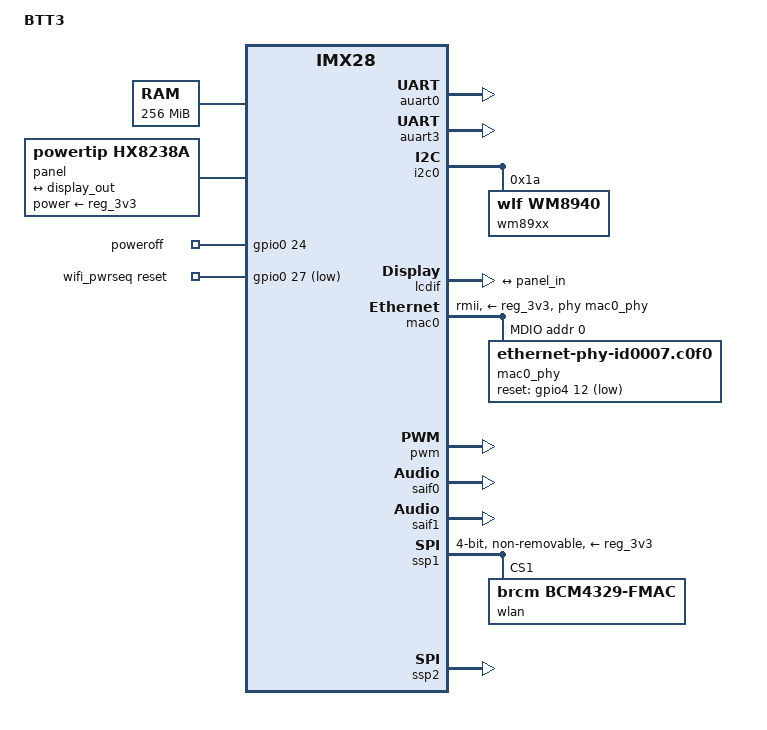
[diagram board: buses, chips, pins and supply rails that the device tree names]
// SPDX-License-Identifier: GPL-2.0-or-later OR MIT
/*
 * Copyright 2024
 * Lukasz Majewski, DENX Software Engineering, lukma@denx.de
 */
/dts-v1/;
#include "imx28-lwe.dtsi"

/ {
	model = "BTT3";

	compatible = "lwn,imx28-btt3", "fsl,imx28";

	chosen {
	       bootargs = "root=/dev/mmcblk0p2 rootfstype=ext4 ro rootwait console=ttyAMA0,115200 panic=1 quiet";
	};

	memory@40000000 {
		reg = <0x40000000 0x10000000>;
		device_type = "memory";
	};

	panel {
		compatible = "powertip,hx8238a", "panel-dpi";
		power-supply = <&reg_3v3>;
		width-mm = <70>;
		height-mm = <52>;

		panel-timing {
			clock-frequency = <6500000>;
			hactive = <320>;
			vactive = <240>;
			hfront-porch = <20>;
			hback-porch = <38>;
			hsync-len = <30>;
			vfront-porch = <4>;
			vback-porch = <14>;
			vsync-len = <4>;
			hsync-active = <0>;
			vsync-active = <0>;
			de-active = <0>;
			pixelclk-active = <1>;
		};

		port {
			panel_in: endpoint {
				remote-endpoint = <&display_out>;
			};
		};
	};

	poweroff {
		compatible = "gpio-poweroff";
		gpios = <&gpio0 24 GPIO_ACTIVE_HIGH>;
	};

	sound {
		compatible = "simple-audio-card";
		simple-audio-card,name = "BTTC Audio";
		simple-audio-card,widgets = "Speaker", "BTTC Speaker";
		simple-audio-card,routing = "BTTC Speaker", "SPKOUTN", "BTTC Speaker", "SPKOUTP";

		simple-audio-card,dai-link@0 {
			format = "left_j";
			bitclock-master = <&dai0_master>;
			frame-master = <&dai0_master>;
			mclk-fs = <256>;

			dai0_master: cpu {
				sound-dai = <&saif0>;
			};

			codec {
				sound-dai = <&wm89xx>;
				clocks = <&saif0>;
			};
		};
	};

	wifi_pwrseq: sdio-pwrseq {
		compatible = "mmc-pwrseq-simple";
		pinctrl-names = "default";
		pinctrl-0 = <&wifi_en_pin_bttc>;
		reset-gpios = <&gpio0 27 GPIO_ACTIVE_LOW>;
		/* W1-163 needs 60us for WL_EN to be low and */
		/* 150ms after high before downloading FW is possible */
		post-power-on-delay-ms = <200>;
		power-off-delay-us = <100>;
	};
};

&auart0 {
	pinctrl-names = "default";
	pinctrl-0 = <&auart0_2pins_a>;
	status = "okay";
};

&auart3 {
	pinctrl-names = "default";
	pinctrl-0 = <&auart3_pins_a>;
	uart-has-rtscts;
	status = "okay";
};

&i2c0 {
	wm89xx: audio-codec@1a {
		compatible = "wlf,wm8940";
		reg = <0x1a>;
		#sound-dai-cells = <0>;
	};
};

&lcdif {
	pinctrl-names = "default";
	pinctrl-0 = <&lcdif_24bit_pins_a>, <&lcdif_sync_pins_bttc>,
		    <&lcdif_reset_pins_bttc>;
	status = "okay";

	port {
		display_out: endpoint {
			remote-endpoint = <&panel_in>;
		};
	};
};

&mac0 {
	clocks = <&clks 57>, <&clks 57>, <&clks 64>;
	clock-names = "ipg", "ahb", "enet_out";
	phy-handle = <&mac0_phy>;
	phy-mode = "rmii";
	phy-supply = <&reg_3v3>;
	/*
	 * This MAC address is adjusted during production.
	 * Value specified below is used as a fallback during recovery.
	 */
	local-mac-address = [ 00 11 B8 00 BF 8A ];
	status = "okay";

	mdio {
		#address-cells = <1>;
		#size-cells = <0>;

		mac0_phy: ethernet-phy@0 {
			/* LAN8720Ai - PHY ID */
			compatible = "ethernet-phy-id0007.c0f0","ethernet-phy-ieee802.3-c22";
			reg = <0>;
			smsc,disable-energy-detect;
			max-speed = <100>;
			reset-gpios = <&gpio4 12 GPIO_ACTIVE_LOW>;
			reset-assert-us = <1000>;
			reset-deassert-us = <1000>;
		};
	};
};

&pinctrl {
	pinctrl-names = "default";
	pinctrl-0 = <&hog_pins_a>, <&hog_pins_rev>;

	hog_pins_a: hog@0 {
		reg = <0>;
		fsl,pinmux-ids = <
			MX28_PAD_GPMI_RDY2__GPIO_0_22
			MX28_PAD_GPMI_RDY3__GPIO_0_23
			MX28_PAD_GPMI_RDN__GPIO_0_24
			MX28_PAD_LCD_VSYNC__GPIO_1_28
			MX28_PAD_SSP2_SS1__GPIO_2_20
			MX28_PAD_SSP2_SS2__GPIO_2_21
			MX28_PAD_AUART2_CTS__GPIO_3_10
			MX28_PAD_AUART2_RTS__GPIO_3_11
			MX28_PAD_GPMI_WRN__GPIO_0_25
			MX28_PAD_ENET0_RXD2__GPIO_4_9
			MX28_PAD_ENET0_TXD2__GPIO_4_11
		>;
		fsl,drive-strength = <MXS_DRIVE_4mA>;
		fsl,voltage = <MXS_VOLTAGE_HIGH>;
		fsl,pull-up = <MXS_PULL_DISABLE>;
	};

	hog_pins_rev: hog@1 {
		reg = <1>;
		fsl,pinmux-ids = <
			MX28_PAD_ENET0_RXD3__GPIO_4_10
			MX28_PAD_ENET0_TX_CLK__GPIO_4_5
			MX28_PAD_ENET0_COL__GPIO_4_14
			MX28_PAD_ENET0_CRS__GPIO_4_15
		>;
		fsl,drive-strength = <MXS_DRIVE_4mA>;
		fsl,voltage = <MXS_VOLTAGE_HIGH>;
		fsl,pull-up = <MXS_PULL_DISABLE>;
	};

	keypad_pins_bttc: keypad-bttc@0 {
		reg = <0>;
		fsl,pinmux-ids = <
			MX28_PAD_GPMI_D00__GPIO_0_0
			MX28_PAD_AUART0_CTS__GPIO_3_2
			MX28_PAD_AUART0_RTS__GPIO_3_3
			MX28_PAD_GPMI_D03__GPIO_0_3
			MX28_PAD_GPMI_D04__GPIO_0_4
			MX28_PAD_GPMI_D05__GPIO_0_5
			MX28_PAD_GPMI_D06__GPIO_0_6
			MX28_PAD_GPMI_D07__GPIO_0_7
			MX28_PAD_GPMI_CE1N__GPIO_0_17
			MX28_PAD_GPMI_CE2N__GPIO_0_18
			MX28_PAD_GPMI_CE3N__GPIO_0_19
			MX28_PAD_GPMI_RDY0__GPIO_0_20
		>;
		fsl,drive-strength = <MXS_DRIVE_4mA>;
		fsl,voltage = <MXS_VOLTAGE_HIGH>;
		fsl,pull-up = <MXS_PULL_DISABLE>;
	};

	lcdif_sync_pins_bttc: lcdif-bttc@0 {
		reg = <0>;
		fsl,pinmux-ids = <
			MX28_PAD_LCD_DOTCLK__LCD_DOTCLK
			MX28_PAD_LCD_ENABLE__LCD_ENABLE
			MX28_PAD_LCD_HSYNC__LCD_HSYNC
			MX28_PAD_LCD_RD_E__LCD_VSYNC
		>;
		fsl,drive-strength = <MXS_DRIVE_4mA>;
		fsl,voltage = <MXS_VOLTAGE_HIGH>;
		fsl,pull-up = <MXS_PULL_DISABLE>;
	};

	lcdif_reset_pins_bttc: lcdif-bttc@1 {
		reg = <1>;
		fsl,pinmux-ids = <
			MX28_PAD_LCD_RESET__GPIO_3_30
		>;
		fsl,drive-strength = <MXS_DRIVE_4mA>;
		fsl,voltage = <MXS_VOLTAGE_HIGH>;
		fsl,pull-up = <MXS_PULL_ENABLE>;
	};

	ssp1_sdio_pins_a: ssp1-sdio@0 {
		reg = <0>;
		fsl,pinmux-ids = <
			MX28_PAD_SSP1_DATA0__SSP1_D0
			MX28_PAD_GPMI_D01__SSP1_D1
			MX28_PAD_GPMI_D02__SSP1_D2
			MX28_PAD_SSP1_DATA3__SSP1_D3
			MX28_PAD_SSP1_CMD__SSP1_CMD
			MX28_PAD_SSP1_SCK__SSP1_SCK
		>;
		fsl,drive-strength = <MXS_DRIVE_8mA>;
		fsl,voltage = <MXS_VOLTAGE_HIGH>;
		fsl,pull-up = <MXS_PULL_ENABLE>;
	};

	wifi_en_pin_bttc: wifi-en-pin@0 {
		reg = <0>;
		fsl,pinmux-ids = <
			MX28_PAD_GPMI_CLE__GPIO_0_27
		>;
		fsl,drive-strength = <MXS_DRIVE_8mA>;
		fsl,voltage = <MXS_VOLTAGE_HIGH>;
		fsl,pull-up = <MXS_PULL_ENABLE>;
	};
};

&pwm {
	pinctrl-names = "default";
	pinctrl-0 = <&pwm3_pins_a>;
	status = "okay";
};

&reg_usb_5v {
	gpio = <&gpio1 28 GPIO_ACTIVE_HIGH>;
};

&saif0 {
	pinctrl-names = "default";
	pinctrl-0 = <&saif0_pins_a>;
	#sound-dai-cells = <0>;
	assigned-clocks = <&clks 53>;
	assigned-clock-rates = <12000000>;
	status = "okay";
};

&saif1 {
	pinctrl-names = "default";
	pinctrl-0 = <&saif1_pins_a>;
	#sound-dai-cells = <0>;
	fsl,saif-master = <&saif0>;
	status = "okay";
};

&ssp1 {
	compatible = "fsl,imx28-mmc";
	pinctrl-names = "default";
	pinctrl-0 = <&ssp1_sdio_pins_a>;
	bus-width = <4>;
	no-1-8-v;       /* force 3.3V VIO */
	non-removable;
	vmmc-supply = <&reg_3v3>;
	mmc-pwrseq = <&wifi_pwrseq>;
	keep-power-in-suspend;
	status = "okay";

	wlan@1 {
		reg = <1>;
		compatible = "brcm,bcm4329-fmac";
	};
};

&ssp2 {
	compatible = "fsl,imx28-spi";
	pinctrl-names = "default";
	pinctrl-0 = <&spi2_pins_a>;
	status = "okay";
};
